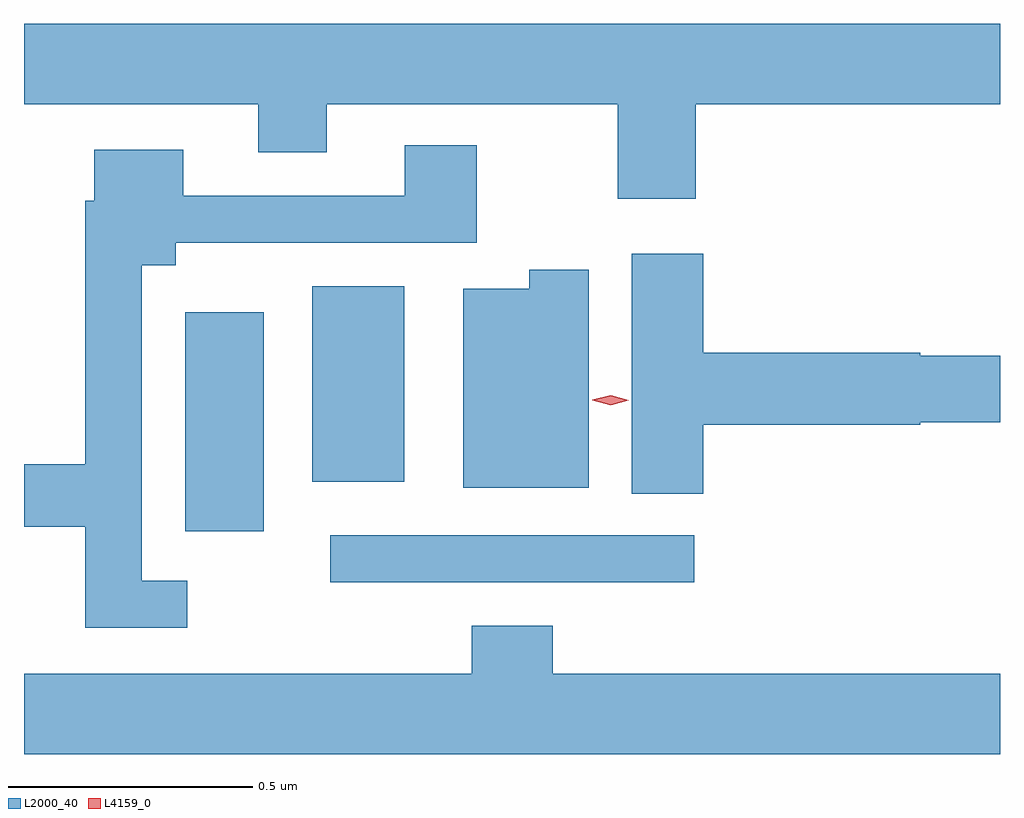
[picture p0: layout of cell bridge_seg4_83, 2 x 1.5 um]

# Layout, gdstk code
import gdstk
lib = gdstk.Library(unit=1e-6, precision=1e-09)
def R(c, l, rs):  # rectangles x0, y0, x1, y1
    for r in rs: c.add(gdstk.rectangle(r[:2], r[2:], *l))
def P(c, l, *ps):  # polygons
    for p in ps: c.add(gdstk.Polygon(p, *l))
L2000_40 = (2000, 40)
L4159_0 = (4159, 0)

bridge_seg4_83 = lib.new_cell('bridge_seg4_83')
R(bridge_seg4_83, L2000_40, [(438.459,809.16,439.204,809.256), (438.161,809.265,438.322,809.713), (438.422,809.366,438.61,809.767)])
P(bridge_seg4_83, L2000_40, [(439.208,810.14),(439.831,810.14),(439.831,810.304),(437.831,810.304),(437.831,810.14),(438.311,810.14),(438.311,810.041),(438.451,810.041),(438.451,810.14),(439.048,810.14),(439.048,809.946),(439.208,809.946)],
  [(438.166,809.163),(438.072,809.163),(438.072,809.81),(438.142,809.81),(438.142,809.856),(438.759,809.856),(438.759,810.055),(438.611,810.055),(438.611,809.952),(438.157,809.952),(438.157,810.046),(437.975,810.046),(437.975,809.942),(437.956,809.942),(437.956,809.402),(437.831,809.402),(437.831,809.274),(437.956,809.274),(437.956,809.067),(438.166,809.067)],
  [(439.223,809.483),(439.668,809.483),(439.668,809.488),(439.831,809.488),(439.831,809.624),(439.668,809.624),(439.668,809.63),(439.223,809.63),(439.223,809.833),(439.076,809.833),(439.076,809.341),(439.223,809.341)],
  [(438.988,809.8),(438.866,809.8),(438.866,809.761),(438.731,809.761),(438.731,809.354),(438.988,809.354)],
  [(439.831,808.972),(438.914,808.972),(438.914,809.071),(438.749,809.071),(438.749,808.972),(437.831,808.972),(437.831,808.808),(439.831,808.808)])
P(bridge_seg4_83, L4159_0, [(439.033,809.523),(438.995,809.533),(438.995,809.533),(438.995,809.534),(439.033,809.543),(439.07,809.533),(439.07,809.533),(439.07,809.533)])

lib.write_gds('bridge_seg4_83.gds')
